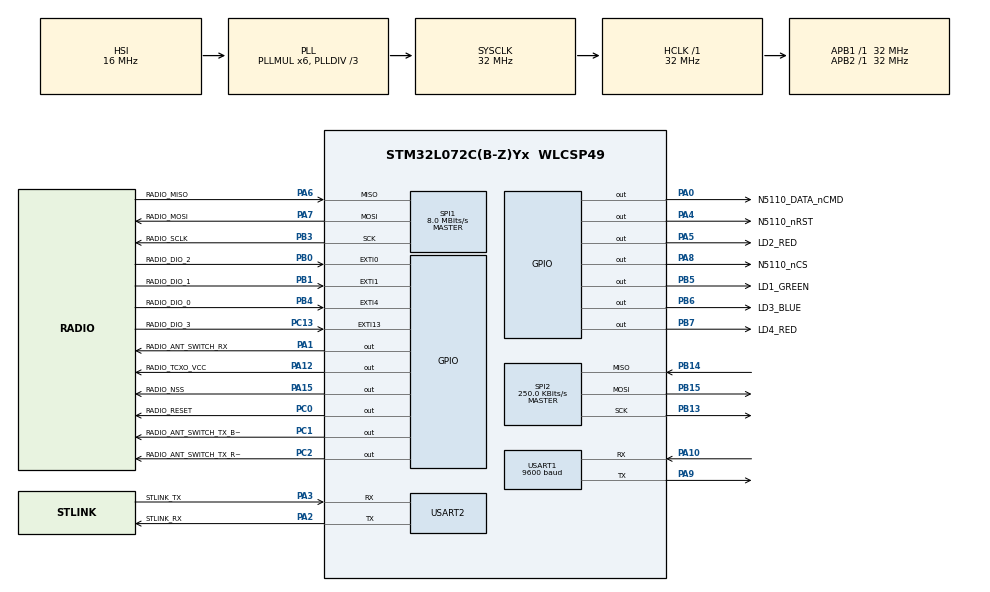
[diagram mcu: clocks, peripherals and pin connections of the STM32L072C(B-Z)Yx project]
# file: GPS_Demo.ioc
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Dma.Request0=USART1_RX
Dma.Request1=USART1_TX
Dma.Request2=SPI2_TX
Dma.SPI2_TX.2.Direction=DMA_MEMORY_TO_PERIPH
Dma.SPI2_TX.2.Instance=DMA1_Channel5
Dma.SPI2_TX.2.MemDataAlignment=DMA_MDATAALIGN_BYTE
Dma.SPI2_TX.2.MemInc=DMA_MINC_ENABLE
Dma.SPI2_TX.2.Mode=DMA_NORMAL
Dma.SPI2_TX.2.PeriphDataAlignment=DMA_PDATAALIGN_BYTE
Dma.SPI2_TX.2.PeriphInc=DMA_PINC_DISABLE
Dma.SPI2_TX.2.Priority=DMA_PRIORITY_LOW
Dma.USART1_RX.0.Direction=DMA_PERIPH_TO_MEMORY
Dma.USART1_RX.0.Instance=DMA1_Channel3
Dma.USART1_RX.0.MemDataAlignment=DMA_MDATAALIGN_BYTE
Dma.USART1_RX.0.MemInc=DMA_MINC_ENABLE
Dma.USART1_RX.0.Mode=DMA_CIRCULAR
Dma.USART1_RX.0.PeriphDataAlignment=DMA_PDATAALIGN_BYTE
Dma.USART1_RX.0.PeriphInc=DMA_PINC_DISABLE
Dma.USART1_RX.0.Priority=DMA_PRIORITY_LOW
Dma.USART1_TX.1.Direction=DMA_MEMORY_TO_PERIPH
Dma.USART1_TX.1.Instance=DMA1_Channel2
Dma.USART1_TX.1.MemDataAlignment=DMA_MDATAALIGN_BYTE
Dma.USART1_TX.1.MemInc=DMA_MINC_ENABLE
Dma.USART1_TX.1.Mode=DMA_NORMAL
Dma.USART1_TX.1.PeriphDataAlignment=DMA_PDATAALIGN_BYTE
Dma.USART1_TX.1.PeriphInc=DMA_PINC_DISABLE
Dma.USART1_TX.1.Priority=DMA_PRIORITY_LOW
Mcu.Family=STM32L0
Mcu.Name=STM32L072C(B-Z)Yx
Mcu.Package=WLCSP49
NVIC.DMA1_Channel2_3_IRQn=true\:0\:0\:false\:false\:true\:false
NVIC.DMA1_Channel4_5_6_7_IRQn=true\:0\:0\:false\:false\:true\:false
NVIC.EXTI0_1_IRQn=true\:0\:0\:false\:false\:true\:true
NVIC.EXTI4_15_IRQn=true\:0\:0\:false\:false\:true\:true
NVIC.RTC_IRQn=true\:0\:0\:false\:false\:true\:true
NVIC.SPI1_IRQn=true\:0\:0\:false\:false\:true\:true
NVIC.SPI2_IRQn=true\:0\:0\:false\:false\:true\:true
NVIC.USART1_IRQn=true\:0\:0\:false\:false\:true\:true
NVIC.USART2_IRQn=true\:0\:0\:false\:false\:true\:true
PA0.GPIO_Label=N5110_DATA_nCMD
PA0.Signal=GPIO_Output
PA1.GPIO_Label=RADIO_ANT_SWITCH_RX
PA1.GPIO_Speed=GPIO_SPEED_FREQ_HIGH
PA1.PinState=GPIO_PIN_RESET
PA1.Signal=GPIO_Output
PA10.Mode=Asynchronous
PA10.Signal=USART1_RX
PA12.GPIO_Label=RADIO_TCXO_VCC
PA12.GPIO_Speed=GPIO_SPEED_FREQ_HIGH
PA12.Signal=GPIO_Output
PA15.GPIO_Label=RADIO_NSS
PA15.GPIO_Speed=GPIO_SPEED_FREQ_HIGH
PA15.PinState=GPIO_PIN_SET
PA15.Signal=GPIO_Output
PA2.GPIO_Label=STLINK_RX
PA2.Mode=Asynchronous
PA2.Signal=USART2_TX
PA3.GPIO_Label=STLINK_TX
PA3.Mode=Asynchronous
PA3.Signal=USART2_RX
PA4.GPIO_Label=N5110_nRST
PA4.Signal=GPIO_Output
PA5.GPIO_Label=LD2_RED
PA5.Signal=GPIO_Output
PA6.GPIO_Label=RADIO_MISO
PA6.Mode=Full_Duplex_Master
PA6.Signal=SPI1_MISO
PA7.GPIO_Label=RADIO_MOSI
PA7.Mode=Full_Duplex_Master
PA7.Signal=SPI1_MOSI
PA8.GPIO_Label=N5110_nCS
PA8.Signal=GPIO_Output
PA9.Mode=Asynchronous
PA9.Signal=USART1_TX
PB0.GPIO_Label=RADIO_DIO_2
PB0.GPIO_PuPd=GPIO_PULLDOWN
PB0.Signal=GPXTI0
PB1.GPIO_Label=RADIO_DIO_1
PB1.GPIO_PuPd=GPIO_PULLDOWN
PB1.Signal=GPXTI1
PB12.Signal=SPI2_NSS
PB13.Mode=Full_Duplex_Master
PB13.Signal=SPI2_SCK
PB14.Mode=Full_Duplex_Master
PB14.Signal=SPI2_MISO
PB15.Mode=Full_Duplex_Master
PB15.Signal=SPI2_MOSI
PB3.GPIO_Label=RADIO_SCLK
PB3.Mode=Full_Duplex_Master
PB3.Signal=SPI1_SCK
PB4.GPIO_Label=RADIO_DIO_0
PB4.GPIO_PuPd=GPIO_PULLDOWN
PB4.Signal=GPXTI4
PB5.GPIO_Label=LD1_GREEN
PB5.Signal=GPIO_Output
PB6.GPIO_Label=LD3_BLUE
PB6.Signal=GPIO_Output
PB7.GPIO_Label=LD4_RED
PB7.Signal=GPIO_Output
PC0.GPIO_Label=RADIO_RESET
PC0.GPIO_Speed=GPIO_SPEED_FREQ_HIGH
PC0.Signal=GPIO_Output
PC1.GPIO_Label=RADIO_ANT_SWITCH_TX_BOOST
PC1.GPIO_Speed=GPIO_SPEED_FREQ_HIGH
PC1.Signal=GPIO_Output
PC13.GPIO_Label=RADIO_DIO_3
PC13.GPIO_PuPd=GPIO_PULLDOWN
PC13.Signal=GPXTI13
PC2.GPIO_Label=RADIO_ANT_SWITCH_TX_RFO
PC2.GPIO_Speed=GPIO_SPEED_FREQ_HIGH
PC2.Signal=GPIO_Output
PH0-OSC_IN.Signal=RCC_OSC_IN
PH1-OSC_OUT.Signal=RCC_OSC_OUT
ProjectManager.HeapSize=0x200
ProjectManager.StackSize=0xF00
ProjectManager.TargetToolchain=TrueSTUDIO
RCC.AHBFreq_Value=32000000
RCC.APB1Freq_Value=32000000
RCC.APB1TimFreq_Value=32000000
RCC.APB2Freq_Value=32000000
RCC.APB2TimFreq_Value=32000000
RCC.HCLKFreq_Value=32000000
RCC.HSE_VALUE=8000000
RCC.HSI16_VALUE=16000000
RCC.HSI48_VALUE=48000000
RCC.HSI_VALUE=16000000
RCC.LSE_VALUE=32768
RCC.MSI_VALUE=2097000
RCC.PLLDIV=RCC_PLLDIV_3
RCC.PLLMUL=RCC_PLLMUL_6
RCC.SYSCLKFreq_VALUE=32000000
RCC.SYSCLKSource=RCC_SYSCLKSOURCE_PLLCLK
RCC.VCOOutputFreq_Value=96000000
RTC.Alarm-Alarm\ A=RTC_ALARM_A
RTC.AlarmSubSecondMask-Alarm\ A=RTC_ALARMSUBSECONDMASK_NONE
RTC.AsynchPrediv=31
RTC.Format=RTC_FORMAT_BIN
RTC.SynchPrediv=1023
SPI1.BaudRatePrescaler=SPI_BAUDRATEPRESCALER_4
SPI1.CalculateBaudRate=8.0 MBits/s
SPI1.Direction=SPI_DIRECTION_2LINES
SPI1.Mode=SPI_MODE_MASTER
SPI1.TIMode=SPI_TIMODE_DISABLE
SPI1.VirtualNSS=VM_NSSHARD
SPI1.VirtualType=VM_MASTER
SPI2.BaudRatePrescaler=SPI_BAUDRATEPRESCALER_128
SPI2.CalculateBaudRate=250.0 KBits/s
SPI2.Direction=SPI_DIRECTION_2LINES
SPI2.Mode=SPI_MODE_MASTER
SPI2.VirtualNSS=VM_NSSHARD
SPI2.VirtualType=VM_MASTER
USART1.BaudRate=9600
USART1.VirtualMode-Asynchronous=VM_ASYNC
USART2.VirtualMode-Asynchronous=VM_ASYNC
VP_RTC_VS_RTC_Activate.Mode=RTC_Enabled
VP_RTC_VS_RTC_Alarm_A_Intern.Mode=Alarm A
VP_RTC_VS_RTC_Calendar.Mode=RTC_Calendar
board=B-L072Z-LRWAN1

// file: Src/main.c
/* USER CODE BEGIN Header */
/**
  ******************************************************************************
  * @file           : main.c
  * @brief          : Main program body
  ******************************************************************************
  ** This notice applies to any and all portions of this file
  * that are not between comment pairs USER CODE BEGIN and
  * USER CODE END. Other portions of this file, whether
  * inserted by the user or by software development tools
  * are owned by their respective copyright owners.
  *
  * COPYRIGHT(c) 2019 STMicroelectronics
  *
  * Redistribution and use in source and binary forms, with or without modification,
  * are permitted provided that the following conditions are met:
  *   1. Redistributions of source code must retain the above copyright notice,
  *      this list of conditions and the following disclaimer.
  *   2. Redistributions in binary form must reproduce the above copyright notice,
  *      this list of conditions and the following disclaimer in the documentation
  *      and/or other materials provided with the distribution.
  *   3. Neither the name of STMicroelectronics nor the names of its contributors
  *      may be used to endorse or promote products derived from this software
  *      without specific prior written permission.
  *
  * THIS SOFTWARE IS PROVIDED BY THE COPYRIGHT HOLDERS AND CONTRIBUTORS "AS IS"
  * AND ANY EXPRESS OR IMPLIED WARRANTIES, INCLUDING, BUT NOT LIMITED TO, THE
  * IMPLIED WARRANTIES OF MERCHANTABILITY AND FITNESS FOR A PARTICULAR PURPOSE ARE
  * DISCLAIMED. IN NO EVENT SHALL THE COPYRIGHT HOLDER OR CONTRIBUTORS BE LIABLE
  * FOR ANY DIRECT, INDIRECT, INCIDENTAL, SPECIAL, EXEMPLARY, OR CONSEQUENTIAL
  * DAMAGES (INCLUDING, BUT NOT LIMITED TO, PROCUREMENT OF SUBSTITUTE GOODS OR
  * SERVICES; LOSS OF USE, DATA, OR PROFITS; OR BUSINESS INTERRUPTION) HOWEVER
  * CAUSED AND ON ANY THEORY OF LIABILITY, WHETHER IN CONTRACT, STRICT LIABILITY,
  * OR TORT (INCLUDING NEGLIGENCE OR OTHERWISE) ARISING IN ANY WAY OUT OF THE USE
  * OF THIS SOFTWARE, EVEN IF ADVISED OF THE POSSIBILITY OF SUCH DAMAGE.
  *
  ******************************************************************************
  */
/* USER CODE END Header */

#include "main.h"

/* USER CODE BEGIN Includes */

#include "stdio.h"
#include "stdlib.h"
#include "stddef.h"
#include "string.h"
#include "gps.h"

#include <stdarg.h>
#include <stdlib.h>
#include <string.h>

#include "N5110_LCD/N5110_lcd.h"

#include "Lora/sx1276/sx1276.h"
#include "Lora/utilities_conf.h"
#include "Lora/Utilities/timeServer.h"
/* USER CODE END Includes */

RTC_HandleTypeDef hrtc;

SPI_HandleTypeDef hspi1;
SPI_HandleTypeDef hspi2;
DMA_HandleTypeDef hdma_spi2_tx;

UART_HandleTypeDef huart1;
UART_HandleTypeDef huart2;
DMA_HandleTypeDef hdma_usart1_rx;
DMA_HandleTypeDef hdma_usart1_tx;

void SystemClock_Config(void);
static void MX_GPIO_Init(void);
static void MX_DMA_Init(void);
static void MX_RTC_Init(void);
static void MX_SPI1_Init(void);
static void MX_SPI2_Init(void);
static void MX_USART2_UART_Init(void);
static void MX_USART1_UART_Init(void);

/* USER CODE BEGIN 0 */

typedef enum
{
    LOWPOWER,
    RX,
    RX_TIMEOUT,
    RX_ERROR,
    TX,
    TX_TIMEOUT,
}States_t;
States_t State = RX;

const uint8_t PingMsg[] = "PING";
const uint8_t PongMsg[] = "PONG";

#define BUFFER_SIZE                                 6       	// Define the payload size here,
uint16_t BufferSize = BUFFER_SIZE;
uint8_t Buffer[BUFFER_SIZE];

GPS_t* gpsHandle;

#ifndef UARTDMA_BUFFER_SIZE
	#define UARTDMA_BUFFER_SIZE 512
#endif
uint8_t GPS_buffer[UARTDMA_BUFFER_SIZE];
uint8_t DMA_buffer1[UARTDMA_BUFFER_SIZE];
uint8_t DMA_buffer2[UARTDMA_BUFFER_SIZE];
uint8_t dma_halfcmplt_flag = 0;
uint8_t uart_data_received_flag = 0;
uint16_t gps_buffer_pointer = 0;

void HAL_UART_RxCpltCallback(UART_HandleTypeDef *huart)
{
	if (huart == &huart1)
	{
		HAL_GPIO_TogglePin(LD4_RED_GPIO_Port, LD4_RED_Pin);
		memcpy(&DMA_buffer2[UARTDMA_BUFFER_SIZE/2], &DMA_buffer1[UARTDMA_BUFFER_SIZE/2], UARTDMA_BUFFER_SIZE/2);
		memset(&DMA_buffer1[UARTDMA_BUFFER_SIZE/2], 0, UARTDMA_BUFFER_SIZE/2);
		dma_halfcmplt_flag = 0;

		memcpy(GPS_buffer, DMA_buffer2, UARTDMA_BUFFER_SIZE);
		uart_data_received_flag = 1;
		HAL_GPIO_TogglePin(LD4_RED_GPIO_Port, LD4_RED_Pin);
	}
}
void HAL_UART_RxHalfCpltCallback(UART_HandleTypeDef *huart)
{
	if (huart == &huart1)
	{
		HAL_GPIO_TogglePin(LD3_BLUE_GPIO_Port, LD3_BLUE_Pin);
		memcpy(DMA_buffer2, DMA_buffer1, UARTDMA_BUFFER_SIZE/2);
		memset(DMA_buffer1, 0, UARTDMA_BUFFER_SIZE/2);
		if (DMA_buffer2[0] == 0)
		{
			dma_halfcmplt_flag = 1;
		}
		dma_halfcmplt_flag = 1;
		HAL_GPIO_TogglePin(LD3_BLUE_GPIO_Port, LD3_BLUE_Pin);

	}
}

void GPIO_ResetPin(void* port, uint32_t pin)
{
	HAL_GPIO_WritePin(port, pin, 0);
}
void GPIO_SetPin(void* port, uint32_t pin)
{
	HAL_GPIO_WritePin(port, pin, 1);
}
void SPI_Transmit(uint8_t* data, uint32_t length)
{
	HAL_SPI_Transmit(&hspi2, data, length, 10);
}
void SPI_Transmit_DMA(uint8_t* data, uint32_t length)
{
	HAL_SPI_Transmit_DMA(&hspi2, data, length);
}

void PRINTF(const char *strFormat, ...)
{
	static char buf[256];
	va_list vaArgs;
	va_start( vaArgs, strFormat);
	uint16_t bufSize=vsnprintf(buf,sizeof(buf),strFormat, vaArgs);
	va_end(vaArgs);

	HAL_UART_Transmit(&huart1, (uint8_t*)buf, bufSize, 1000);
}

int8_t RssiValue = 0;
int8_t SnrValue = 0;
int LORA_SPREADING_FACTOR = 12;
static  TimerEvent_t timerLed;

void OnTxDone( void )
{
    Radio.Sleep( );
    State = TX;
    PRINTF("OnTxDone\n\r");
}

void OnRxDone( uint8_t *payload, uint16_t size, int16_t rssi, int8_t snr )
{
    Radio.Sleep( );
    BufferSize = size;
    memcpy( Buffer, payload, BufferSize );
    RssiValue = rssi;
    SnrValue = snr;
    State = RX;

    PRINTF("OnRxDone\n\r");
    PRINTF("RssiValue=%d dBm, SnrValue=%d\n\r,   %d", rssi, snr,LORA_SPREADING_FACTOR);
}

void OnTxTimeout( void )
{
    Radio.Sleep( );
    State = TX_TIMEOUT;

    PRINTF("OnTxTimeout\n\r");
}

void OnRxTimeout( void )
{
    Radio.Sleep( );
    State = RX_TIMEOUT;
    PRINTF("OnRxTimeout\n\r,  %d",LORA_SPREADING_FACTOR);
}

void OnRxError( void )
{
    Radio.Sleep( );
    State = RX_ERROR;
    PRINTF("OnRxError\n\r");
}

static void OnledEvent( void* context )
{
    HAL_GPIO_TogglePin(LD4_RED_GPIO_Port, LD4_RED_Pin);
    HAL_GPIO_TogglePin(LD2_RED_GPIO_Port, LD2_RED_Pin);
    HAL_GPIO_TogglePin(LD1_GREEN_GPIO_Port, LD1_GREEN_Pin);
    HAL_GPIO_TogglePin(LD3_BLUE_GPIO_Port, LD3_BLUE_Pin);

  TimerStart(&timerLed );
}
/* USER CODE END 0 */

int main(void)
{
  /* USER CODE BEGIN 1 */
	bool isMaster = true;

  /* USER CODE END 1 */

  /* MCU Configuration--------------------------------------------------------*/

  /* Reset of all peripherals, Initializes the Flash interface and the Systick. */
  HAL_Init();

  /* Configure the system clock */
  SystemClock_Config();

  /* Initialize all configured peripherals */
  MX_GPIO_Init();
  MX_DMA_Init();
  MX_RTC_Init();
  MX_SPI1_Init();
  MX_SPI2_Init();
  MX_USART2_UART_Init();
  MX_USART1_UART_Init();
  /* USER CODE BEGIN 2 */

while(0)
{

	HAL_GPIO_WritePin( GPIOA, GPIO_PIN_15, 0 );
	HAL_Delay(20);
	HAL_GPIO_WritePin( GPIOA, GPIO_PIN_15, 1 );
	HAL_Delay(20);
	}

static RadioEvents_t RadioEvents;
// Radio initialization
RadioEvents.TxDone = OnTxDone;
RadioEvents.RxDone = OnRxDone;
RadioEvents.TxTimeout = OnTxTimeout;
RadioEvents.RxTimeout = OnRxTimeout;
RadioEvents.RxError = OnRxError;

Radio.IoInit( );

/* Led Timers*/
TimerInit(&timerLed, OnledEvent);
#define LED_PERIOD_MS               				200
TimerSetValue( &timerLed, LED_PERIOD_MS);

TimerStart(&timerLed );

Radio.Init( &RadioEvents );

	static uint8_t rxData[2];
	static uint8_t txData[2] = { 0xFF, 0x0};

	char *regstext = "SX1276 registers:\r\n";
	HAL_UART_Transmit(&huart1, (uint8_t*)regstext, strlen(regstext), 1000);
	for (uint16_t i=0; i<=0x70 ; i++)
	{
		if (i%16==0)
		{
			HAL_UART_Transmit(&huart1, (uint8_t*)"\r\n", 2, 1000);
		}

		//config =  SX1276Read( i );

		txData[0] = i & 0x7F;
		HAL_GPIO_WritePin( RADIO_NSS_GPIO_Port, RADIO_NSS_Pin, 0 );
		HAL_SPI_TransmitReceive( &hspi1, txData, rxData, 2, HAL_MAX_DELAY);
		HAL_GPIO_WritePin( RADIO_NSS_GPIO_Port, RADIO_NSS_Pin, 1 );

		char text[8];
		snprintf (text, sizeof(text), "%02X ", rxData[1]);
		HAL_UART_Transmit(&huart1, (uint8_t*)text, 3, 1000);
	}
	HAL_UART_Transmit(&huart1, (uint8_t*)"\r\n_________\r\n", 13, 1000);

#define RF_FREQUENCY                                868000000 // Hz
#define RX_TIMEOUT_VALUE                            10000
#define LED_PERIOD_MS               				200
#define TX_OUTPUT_POWER                             20        // dBm
#define LORA_BANDWIDTH                              0         // [0: 125 kHz,
															  //  1: 250 kHz,
															  //  2: 500 kHz,
															  //  3: Reserved]
	//#define LORA_SPREADING_FACTOR                       10      // [SF7..SF12]
	#define LORA_CODINGRATE                             4         // [1: 4/5,
																  //  2: 4/6,
																  //  3: 4/7,
																  //  4: 4/8]
	#define LORA_PREAMBLE_LENGTH                        8         // Same for Tx and Rx
	#define LORA_SYMBOL_TIMEOUT                         100       // Symbols
	#define LORA_FIX_LENGTH_PAYLOAD_ON                  false
	#define LORA_IQ_INVERSION_ON                        false

    Radio.SetMaxPayloadLength(MODEM_LORA, 6);

    Radio.SetChannel( RF_FREQUENCY );
    Radio.SetTxConfig( MODEM_LORA, TX_OUTPUT_POWER, 0, LORA_BANDWIDTH,
    								LORA_SPREADING_FACTOR, LORA_CODINGRATE,
                                   LORA_PREAMBLE_LENGTH, LORA_FIX_LENGTH_PAYLOAD_ON,
                                   true, 0, 0, LORA_IQ_INVERSION_ON, 3000 );
    Radio.SetRxConfig( MODEM_LORA, LORA_BANDWIDTH, LORA_SPREADING_FACTOR,
                                   LORA_CODINGRATE, 0, LORA_PREAMBLE_LENGTH,
                                   LORA_SYMBOL_TIMEOUT, LORA_FIX_LENGTH_PAYLOAD_ON,
                                   0, true, 0, 0, LORA_IQ_INVERSION_ON, true );

    Radio.Rx( RX_TIMEOUT_VALUE );

    while( 1 )
    {
        switch( State )
        {
        case RX:
            if( isMaster == true )
            {
                if( BufferSize > 0 )
                {
                    if( strncmp( ( const char* )Buffer, ( const char* )PongMsg, 4 ) == 0 )
                    {
                        TimerStop(&timerLed );

                        HAL_GPIO_WritePin(LD4_RED_GPIO_Port, LD4_RED_Pin, 0);
                        HAL_GPIO_WritePin(LD1_GREEN_GPIO_Port, LD1_GREEN_Pin, 0);
                        HAL_GPIO_WritePin(LD3_BLUE_GPIO_Port, LD3_BLUE_Pin, 0);
                        // Indicates on a LED that the received frame is a PONG
                        HAL_GPIO_TogglePin(LD2_RED_GPIO_Port, LD2_RED_Pin);

                        // Send the next PING frame
                        Buffer[0] = 'P';
                        Buffer[1] = 'I';
                        Buffer[2] = 'N';
                        Buffer[3] = 'G';
                        // We fill the buffer with numbers for the payload
                        for(int i = 4; i < BufferSize; i++ )
                        {
                            Buffer[i] = i - 4;
                        }
                    	HAL_UART_Transmit(&huart1, (uint8_t*)"...PING\n\r", 9, 1000);
                        //PRINTF("...PING\n\r");

                        DelayMs( 1 );
                        Radio.Send( Buffer, BufferSize );
                    }
                    else if( strncmp( ( const char* )Buffer, ( const char* )PingMsg, 4 ) == 0 )
                    { // A master already exists then become a slave
                        isMaster = false;
                        //GpioWrite( &Led2, 1 ); // Set LED off
                        Radio.Rx( RX_TIMEOUT_VALUE );
                    }
                    else // valid reception but neither a PING or a PONG message
                    {    // Set device as master ans start again
                        isMaster = true;
                        Radio.Rx( RX_TIMEOUT_VALUE );
                    }
                }
            }
            else
            {
                if( BufferSize > 0 )
                {
                    if( strncmp( ( const char* )Buffer, ( const char* )PingMsg, 4 ) == 0 )
                    {
                        // Indicates on a LED that the received frame is a PING
                        TimerStop(&timerLed );
                        HAL_GPIO_WritePin(LD4_RED_GPIO_Port, LD4_RED_Pin, 0);
                        HAL_GPIO_WritePin(LD2_RED_GPIO_Port, LD2_RED_Pin, 0);
                        HAL_GPIO_WritePin(LD1_GREEN_GPIO_Port, LD1_GREEN_Pin, 0);
                        HAL_GPIO_WritePin(LD3_BLUE_GPIO_Port, LD3_BLUE_Pin, 0);

                        // Send the reply to the PONG string
                        Buffer[0] = 'P';
                        Buffer[1] = 'O';
                        Buffer[2] = 'N';
                        Buffer[3] = 'G';
                        // We fill the buffer with numbers for the payload
                        for(int i = 4; i < BufferSize; i++ )
                        {
                            Buffer[i] = i - 4;
                        }
                        DelayMs( 1 );
                        Radio.Send( Buffer, BufferSize );

                    	HAL_UART_Transmit(&huart1, (uint8_t*)"...PONG\n\r", 9, 1000);
                        //PRINTF("...PONG\n\r");
                    }
                    else // valid reception but not a PING as expected
                    {    // Set device as master and start again
                        isMaster = true;
                        Radio.Rx( RX_TIMEOUT_VALUE );
                    }
                }
            }
            State = LOWPOWER;
            break;
        case TX:
            // Indicates on a LED that we have sent a PING [Master]
            // Indicates on a LED that we have sent a PONG [Slave]
            //GpioWrite( &Led2, GpioRead( &Led2 ) ^ 1 );
            Radio.Rx( RX_TIMEOUT_VALUE );
            State = LOWPOWER;
            break;
        case RX_TIMEOUT:
        case RX_ERROR:
            if( isMaster == true )
            {
                // Send the next PING frame
                Buffer[0] = 'P';
                Buffer[1] = 'I';
                Buffer[2] = 'N';
                Buffer[3] = 'G';
                for(int i = 4; i < BufferSize; i++ )
                {
                    Buffer[i] = i - 4;
                }
                DelayMs( 1 );
                Radio.Send( Buffer, BufferSize );
            }
            else
            {
                Radio.Rx( RX_TIMEOUT_VALUE );
            }
            State = LOWPOWER;
            break;
        case TX_TIMEOUT:
            Radio.Rx( RX_TIMEOUT_VALUE );
            State = LOWPOWER;
            break;
        case LOWPOWER:
        default:
            // Set low power
            break;
        }

        DISABLE_IRQ( );
        /* if an interupt has occured after __disable_irq, it is kept pending
         * and cortex will not enter low power anyway  */
        if (State == LOWPOWER)
        {
        }
        ENABLE_IRQ( );
    }

  AT_N5110_LCD_handle *lcdHandle = AT_N5110LCD_open();
  lcdHandle->functions.delay_ms = HAL_Delay;
  lcdHandle->functions.get_time_ms = HAL_GetTick;
  lcdHandle->functions.reset_gpio = GPIO_ResetPin;
  lcdHandle->functions.set_gpio = GPIO_SetPin;
  lcdHandle->functions.spi_transmit = SPI_Transmit;
  lcdHandle->functions.spi_transmit_dma = SPI_Transmit_DMA;
  lcdHandle->pins.DCPort = N5110_DATA_nCMD_GPIO_Port;
  lcdHandle->pins.DCPin = N5110_DATA_nCMD_Pin;
  lcdHandle->pins.RstPort = N5110_nRST_GPIO_Port;
  lcdHandle->pins.RstPin = N5110_nRST_Pin;
  lcdHandle->pins.csPort = N5110_nCS_GPIO_Port;
  lcdHandle->pins.csPin = N5110_nCS_Pin;
  AT_N5110LCD_init(lcdHandle);

  AT_N5110LCD_print_string(lcdHandle, &Font8, (uint8_t*)"FixTakanAt:", 0, 8);
  AT_N5110LCD_print_string(lcdHandle, &Font8, (uint8_t*)"Latitude:", 0, 16);
  AT_N5110LCD_print_string(lcdHandle, &Font8, (uint8_t*)"Longitude:", 0, 24);
  AT_N5110LCD_print_string(lcdHandle, &Font8, (uint8_t*)"Altitude:", 0, 32);
  AT_N5110LCD_print_string(lcdHandle, &Font8, (uint8_t*)"Satellites:", 0, 40);
  //AT_N5110LCD_print_string(lcdHandle, &Font8, (uint8_t*)"RSSI: ??", 0, 6);
	  AT_N5110LCD_update_display(lcdHandle);

  gpsHandle = gps_open(GPS_DATA_TYPE_NMEA);

  __HAL_UART_ENABLE_IT(&huart1, UART_IT_IDLE);
  HAL_UART_Receive_DMA(&huart1, DMA_buffer1, UARTDMA_BUFFER_SIZE);

  /* USER CODE END 2 */

  /* Infinite loop */
  /* USER CODE BEGIN WHILE */
  while (1)
  {

	  char text[16];
		if (uart_data_received_flag)
		{
			uart_data_received_flag = 0;
			gps_set_input_buffer(gpsHandle, GPS_buffer, UARTDMA_BUFFER_SIZE);

			snprintf(text, sizeof(text), "%d:%d:%d"
					, gpsHandle->gpgga.fixTakenAt.Hour
					, gpsHandle->gpgga.fixTakenAt.Minute
					, gpsHandle->gpgga.fixTakenAt.Second);
			AT_N5110LCD_print_string(lcdHandle, &Font8, (uint8_t*)text, 50, 8);
			snprintf(text, sizeof(text), "%f", gpsHandle->gpgga.latitude);
			AT_N5110LCD_print_string(lcdHandle, &Font8, (uint8_t*)text, 50, 16);
			snprintf(text, sizeof(text), "%f", gpsHandle->gpgga.longitude);
			AT_N5110LCD_print_string(lcdHandle, &Font8, (uint8_t*)text, 50, 24);
			snprintf(text, sizeof(text), "%f", gpsHandle->gpgga.altitude);
			AT_N5110LCD_print_string(lcdHandle, &Font8, (uint8_t*)text, 50, 32);
			snprintf(text, sizeof(text), "%d", gpsHandle->gpgga.numSatellites);
			AT_N5110LCD_print_string(lcdHandle, &Font8, (uint8_t*)text, 50, 40);

			AT_N5110LCD_update_display(lcdHandle);
		}
    /* USER CODE END WHILE */

  }
}

void SystemClock_Config(void)
{
  RCC_OscInitTypeDef RCC_OscInitStruct = {0};
  RCC_ClkInitTypeDef RCC_ClkInitStruct = {0};
  RCC_PeriphCLKInitTypeDef PeriphClkInit = {0};

  /**Configure the main internal regulator output voltage
  */
  __HAL_PWR_VOLTAGESCALING_CONFIG(PWR_REGULATOR_VOLTAGE_SCALE1);
  /**Initializes the CPU, AHB and APB busses clocks
  */
  RCC_OscInitStruct.OscillatorType = RCC_OSCILLATORTYPE_HSI|RCC_OSCILLATORTYPE_LSI;
  RCC_OscInitStruct.HSIState = RCC_HSI_ON;
  RCC_OscInitStruct.HSICalibrationValue = RCC_HSICALIBRATION_DEFAULT;
  RCC_OscInitStruct.LSIState = RCC_LSI_ON;
  RCC_OscInitStruct.PLL.PLLState = RCC_PLL_ON;
  RCC_OscInitStruct.PLL.PLLSource = RCC_PLLSOURCE_HSI;
  RCC_OscInitStruct.PLL.PLLMUL = RCC_PLLMUL_6;
  RCC_OscInitStruct.PLL.PLLDIV = RCC_PLLDIV_3;
  if (HAL_RCC_OscConfig(&RCC_OscInitStruct) != HAL_OK)
  {
    Error_Handler();
  }
  /**Initializes the CPU, AHB and APB busses clocks
  */
  RCC_ClkInitStruct.ClockType = RCC_CLOCKTYPE_HCLK|RCC_CLOCKTYPE_SYSCLK
                              |RCC_CLOCKTYPE_PCLK1|RCC_CLOCKTYPE_PCLK2;
  RCC_ClkInitStruct.SYSCLKSource = RCC_SYSCLKSOURCE_PLLCLK;
  RCC_ClkInitStruct.AHBCLKDivider = RCC_SYSCLK_DIV1;
  RCC_ClkInitStruct.APB1CLKDivider = RCC_HCLK_DIV1;
  RCC_ClkInitStruct.APB2CLKDivider = RCC_HCLK_DIV1;

  if (HAL_RCC_ClockConfig(&RCC_ClkInitStruct, FLASH_LATENCY_1) != HAL_OK)
  {
    Error_Handler();
  }
  PeriphClkInit.PeriphClockSelection = RCC_PERIPHCLK_USART1|RCC_PERIPHCLK_USART2
                              |RCC_PERIPHCLK_RTC;
  PeriphClkInit.Usart1ClockSelection = RCC_USART1CLKSOURCE_PCLK2;
  PeriphClkInit.Usart2ClockSelection = RCC_USART2CLKSOURCE_PCLK1;
  PeriphClkInit.RTCClockSelection = RCC_RTCCLKSOURCE_LSI;
  if (HAL_RCCEx_PeriphCLKConfig(&PeriphClkInit) != HAL_OK)
  {
    Error_Handler();
  }
}

static void MX_RTC_Init(void)
{

  RTC_TimeTypeDef sTime = {0};
  RTC_DateTypeDef sDate = {0};
  RTC_AlarmTypeDef sAlarm = {0};

  /**Initialize RTC Only
  */
  hrtc.Instance = RTC;
  hrtc.Init.HourFormat = RTC_HOURFORMAT_24;
  hrtc.Init.AsynchPrediv = 31;
  hrtc.Init.SynchPrediv = 1023;
  hrtc.Init.OutPut = RTC_OUTPUT_DISABLE;
  hrtc.Init.OutPutRemap = RTC_OUTPUT_REMAP_NONE;
  hrtc.Init.OutPutPolarity = RTC_OUTPUT_POLARITY_HIGH;
  hrtc.Init.OutPutType = RTC_OUTPUT_TYPE_OPENDRAIN;
  if (HAL_RTC_Init(&hrtc) != HAL_OK)
  {
    Error_Handler();
  }

  /**Initialize RTC and set the Time and Date
  */
  sTime.Hours = 0;
  sTime.Minutes = 0;
  sTime.Seconds = 0;
  sTime.DayLightSaving = RTC_DAYLIGHTSAVING_NONE;
  sTime.StoreOperation = RTC_STOREOPERATION_RESET;
  if (HAL_RTC_SetTime(&hrtc, &sTime, RTC_FORMAT_BIN) != HAL_OK)
  {
    Error_Handler();
  }
  sDate.WeekDay = RTC_WEEKDAY_MONDAY;
  sDate.Month = RTC_MONTH_JANUARY;
  sDate.Date = 1;
  sDate.Year = 0;

  if (HAL_RTC_SetDate(&hrtc, &sDate, RTC_FORMAT_BIN) != HAL_OK)
  {
    Error_Handler();
  }
  /**Enable the Alarm A
  */
  sAlarm.AlarmTime.Hours = 0;
  sAlarm.AlarmTime.Minutes = 0;
  sAlarm.AlarmTime.Seconds = 0;
  sAlarm.AlarmTime.SubSeconds = 0;
  sAlarm.AlarmTime.DayLightSaving = RTC_DAYLIGHTSAVING_NONE;
  sAlarm.AlarmTime.StoreOperation = RTC_STOREOPERATION_RESET;
  sAlarm.AlarmMask = RTC_ALARMMASK_NONE;
  sAlarm.AlarmSubSecondMask = RTC_ALARMSUBSECONDMASK_NONE;
  sAlarm.AlarmDateWeekDaySel = RTC_ALARMDATEWEEKDAYSEL_DATE;
  sAlarm.AlarmDateWeekDay = 1;
  sAlarm.Alarm = RTC_ALARM_A;
  if (HAL_RTC_SetAlarm_IT(&hrtc, &sAlarm, RTC_FORMAT_BIN) != HAL_OK)
  {
    Error_Handler();
  }

}

static void MX_SPI1_Init(void)
{

  /* SPI1 parameter configuration*/
  hspi1.Instance = SPI1;
  hspi1.Init.Mode = SPI_MODE_MASTER;
  hspi1.Init.Direction = SPI_DIRECTION_2LINES;
  hspi1.Init.DataSize = SPI_DATASIZE_8BIT;
  hspi1.Init.CLKPolarity = SPI_POLARITY_LOW;
  hspi1.Init.CLKPhase = SPI_PHASE_1EDGE;
  hspi1.Init.NSS = SPI_NSS_SOFT;
  hspi1.Init.BaudRatePrescaler = SPI_BAUDRATEPRESCALER_4;
  hspi1.Init.FirstBit = SPI_FIRSTBIT_MSB;
  hspi1.Init.TIMode = SPI_TIMODE_DISABLE;
  hspi1.Init.CRCCalculation = SPI_CRCCALCULATION_DISABLE;
  hspi1.Init.CRCPolynomial = 7;
  if (HAL_SPI_Init(&hspi1) != HAL_OK)
  {
    Error_Handler();
  }

}

static void MX_SPI2_Init(void)
{

  /* SPI2 parameter configuration*/
  hspi2.Instance = SPI2;
  hspi2.Init.Mode = SPI_MODE_MASTER;
  hspi2.Init.Direction = SPI_DIRECTION_2LINES;
  hspi2.Init.DataSize = SPI_DATASIZE_8BIT;
  hspi2.Init.CLKPolarity = SPI_POLARITY_LOW;
  hspi2.Init.CLKPhase = SPI_PHASE_1EDGE;
  hspi2.Init.NSS = SPI_NSS_SOFT;
  hspi2.Init.BaudRatePrescaler = SPI_BAUDRATEPRESCALER_128;
  hspi2.Init.FirstBit = SPI_FIRSTBIT_MSB;
  hspi2.Init.TIMode = SPI_TIMODE_DISABLE;
  hspi2.Init.CRCCalculation = SPI_CRCCALCULATION_DISABLE;
  hspi2.Init.CRCPolynomial = 7;
  if (HAL_SPI_Init(&hspi2) != HAL_OK)
  {
    Error_Handler();
  }

}

static void MX_USART1_UART_Init(void)
{

  huart1.Instance = USART1;
  huart1.Init.BaudRate = 9600;
  huart1.Init.WordLength = UART_WORDLENGTH_8B;
  huart1.Init.StopBits = UART_STOPBITS_1;
  huart1.Init.Parity = UART_PARITY_NONE;
  huart1.Init.Mode = UART_MODE_TX_RX;
  huart1.Init.HwFlowCtl = UART_HWCONTROL_NONE;
  huart1.Init.OverSampling = UART_OVERSAMPLING_16;
  huart1.Init.OneBitSampling = UART_ONE_BIT_SAMPLE_DISABLE;
  huart1.AdvancedInit.AdvFeatureInit = UART_ADVFEATURE_NO_INIT;
  if (HAL_UART_Init(&huart1) != HAL_OK)
  {
    Error_Handler();
  }

}

static void MX_USART2_UART_Init(void)
{

  huart2.Instance = USART2;
  huart2.Init.BaudRate = 115200;
  huart2.Init.WordLength = UART_WORDLENGTH_8B;
  huart2.Init.StopBits = UART_STOPBITS_1;
  huart2.Init.Parity = UART_PARITY_NONE;
  huart2.Init.Mode = UART_MODE_TX_RX;
  huart2.Init.HwFlowCtl = UART_HWCONTROL_NONE;
  huart2.Init.OverSampling = UART_OVERSAMPLING_16;
  huart2.Init.OneBitSampling = UART_ONE_BIT_SAMPLE_DISABLE;
  huart2.AdvancedInit.AdvFeatureInit = UART_ADVFEATURE_NO_INIT;
  if (HAL_UART_Init(&huart2) != HAL_OK)
  {
    Error_Handler();
  }

}

static void MX_DMA_Init(void)
{
  /* DMA controller clock enable */
  __HAL_RCC_DMA1_CLK_ENABLE();

  /* DMA interrupt init */
  /* DMA1_Channel2_3_IRQn interrupt configuration */
  HAL_NVIC_SetPriority(DMA1_Channel2_3_IRQn, 0, 0);
  HAL_NVIC_EnableIRQ(DMA1_Channel2_3_IRQn);
  /* DMA1_Channel4_5_6_7_IRQn interrupt configuration */
  HAL_NVIC_SetPriority(DMA1_Channel4_5_6_7_IRQn, 0, 0);
  HAL_NVIC_EnableIRQ(DMA1_Channel4_5_6_7_IRQn);

}

static void MX_GPIO_Init(void)
{
  GPIO_InitTypeDef GPIO_InitStruct = {0};

  /* GPIO Ports Clock Enable */
  __HAL_RCC_GPIOA_CLK_ENABLE();
  __HAL_RCC_GPIOB_CLK_ENABLE();
  __HAL_RCC_GPIOC_CLK_ENABLE();
  __HAL_RCC_GPIOH_CLK_ENABLE();

  /*Configure GPIO pin Output Level */
  HAL_GPIO_WritePin(RADIO_NSS_GPIO_Port, RADIO_NSS_Pin, GPIO_PIN_SET);

  /*Configure GPIO pin Output Level */
  HAL_GPIO_WritePin(GPIOB, LD1_GREEN_Pin|LD3_BLUE_Pin|LD4_RED_Pin, GPIO_PIN_RESET);

  /*Configure GPIO pin Output Level */
  HAL_GPIO_WritePin(GPIOA, RADIO_TCXO_VCC_Pin|N5110_nCS_Pin|RADIO_ANT_SWITCH_RX_Pin|N5110_DATA_nCMD_Pin
                          |N5110_nRST_Pin|LD2_RED_Pin, GPIO_PIN_RESET);

  /*Configure GPIO pin Output Level */
  HAL_GPIO_WritePin(GPIOC, RADIO_ANT_SWITCH_TX_BOOST_Pin|RADIO_RESET_Pin|RADIO_ANT_SWITCH_TX_RFO_Pin, GPIO_PIN_RESET);

  /*Configure GPIO pins : RADIO_NSS_Pin RADIO_TCXO_VCC_Pin RADIO_ANT_SWITCH_RX_Pin */
  GPIO_InitStruct.Pin = RADIO_NSS_Pin|RADIO_TCXO_VCC_Pin|RADIO_ANT_SWITCH_RX_Pin;
  GPIO_InitStruct.Mode = GPIO_MODE_OUTPUT_PP;
  GPIO_InitStruct.Pull = GPIO_NOPULL;
  GPIO_InitStruct.Speed = GPIO_SPEED_FREQ_HIGH;
  HAL_GPIO_Init(GPIOA, &GPIO_InitStruct);

  /*Configure GPIO pins : LD1_GREEN_Pin LD3_BLUE_Pin LD4_RED_Pin */
  GPIO_InitStruct.Pin = LD1_GREEN_Pin|LD3_BLUE_Pin|LD4_RED_Pin;
  GPIO_InitStruct.Mode = GPIO_MODE_OUTPUT_PP;
  GPIO_InitStruct.Pull = GPIO_NOPULL;
  GPIO_InitStruct.Speed = GPIO_SPEED_FREQ_LOW;
  HAL_GPIO_Init(GPIOB, &GPIO_InitStruct);

  /*Configure GPIO pins : RADIO_DIO_0_Pin RADIO_DIO_1_Pin RADIO_DIO_2_Pin */
  GPIO_InitStruct.Pin = RADIO_DIO_0_Pin|RADIO_DIO_1_Pin|RADIO_DIO_2_Pin;
  GPIO_InitStruct.Mode = GPIO_MODE_IT_RISING;
  GPIO_InitStruct.Pull = GPIO_PULLDOWN;
  HAL_GPIO_Init(GPIOB, &GPIO_InitStruct);

  /*Configure GPIO pin : RADIO_DIO_3_Pin */
  GPIO_InitStruct.Pin = RADIO_DIO_3_Pin;
  GPIO_InitStruct.Mode = GPIO_MODE_IT_RISING;
  GPIO_InitStruct.Pull = GPIO_PULLDOWN;
  HAL_GPIO_Init(RADIO_DIO_3_GPIO_Port, &GPIO_InitStruct);

  /*Configure GPIO pins : RADIO_ANT_SWITCH_TX_BOOST_Pin RADIO_RESET_Pin RADIO_ANT_SWITCH_TX_RFO_Pin */
  GPIO_InitStruct.Pin = RADIO_ANT_SWITCH_TX_BOOST_Pin|RADIO_RESET_Pin|RADIO_ANT_SWITCH_TX_RFO_Pin;
  GPIO_InitStruct.Mode = GPIO_MODE_OUTPUT_PP;
  GPIO_InitStruct.Pull = GPIO_NOPULL;
  GPIO_InitStruct.Speed = GPIO_SPEED_FREQ_HIGH;
  HAL_GPIO_Init(GPIOC, &GPIO_InitStruct);

  /*Configure GPIO pins : N5110_nCS_Pin N5110_DATA_nCMD_Pin N5110_nRST_Pin LD2_RED_Pin */
  GPIO_InitStruct.Pin = N5110_nCS_Pin|N5110_DATA_nCMD_Pin|N5110_nRST_Pin|LD2_RED_Pin;
  GPIO_InitStruct.Mode = GPIO_MODE_OUTPUT_PP;
  GPIO_InitStruct.Pull = GPIO_NOPULL;
  GPIO_InitStruct.Speed = GPIO_SPEED_FREQ_LOW;
  HAL_GPIO_Init(GPIOA, &GPIO_InitStruct);

  /* EXTI interrupt init*/
  HAL_NVIC_SetPriority(EXTI0_1_IRQn, 0, 0);
  HAL_NVIC_EnableIRQ(EXTI0_1_IRQn);

  HAL_NVIC_SetPriority(EXTI4_15_IRQn, 0, 0);
  HAL_NVIC_EnableIRQ(EXTI4_15_IRQn);

}

void Error_Handler(void)
{
}

/************************ (C) COPYRIGHT STMicroelectronics *****END OF FILE****/
